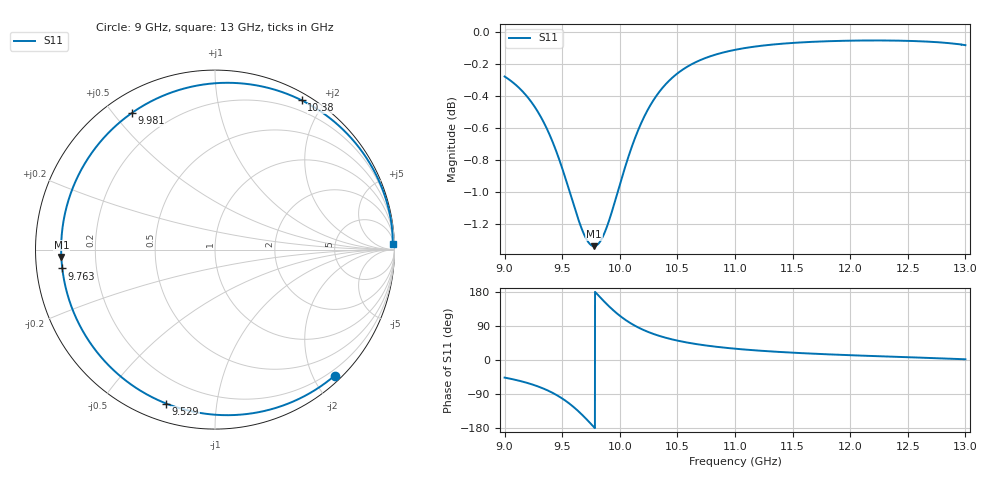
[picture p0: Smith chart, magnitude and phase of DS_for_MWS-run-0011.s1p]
! TOUCHSTONE file generated by CST DESIGN STUDIO
! Date and time: Wed Feb  5 13:45:21 2025
! Project name: C:\Work\MatlabApps\UnitCellOptimizationMatlab\CST\unitcell.cst
! Tree item: Tasks\Sweep1\SPara1\S-Parameters
! Header version: 2024
! Port assignment regex: !\s*Touchstone port\s*([0-9]+)\s*=\s*(CST MWS port|CST DES external port|CST DES block port)\s*(.+)\s* \(\"(.*)\"\)(\s*mode\s*([0-9]+))?.*
! Touchstone port assignment:
! Touchstone port 1 = CST DES external port 1 ("")
# GHz S MA R 50
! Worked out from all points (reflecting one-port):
!   4001 points, 9 GHz to 13 GHz, reference 50 ohm
!   lowest |S11| = -1.3 dB at 9.776 GHz (marker M1), VSWR 13.00, Z = 3.85 - j1.21 ohm
!   phase of S11 starts at -46 deg and turns -312 deg over the sweep
!   S11 on the Smith chart (normalised r, x): 9 GHz: 0.10, -2.33; 9.529 GHz: 0.08, -0.73; 9.763 GHz: 0.08, -0.06; 9.981 GHz: 0.08, +0.56; 10.38 GHz: 0.08, +1.74; 13 GHz: 17, +57
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9  0.9683 -46.4
9.143  0.9591 -56.0
9.273  0.946 -67.9
9.387  0.9293 -82.2
9.447  0.9179 -91.7
9.5  0.9065 -101.5
9.529  0.8998 -107.5
9.587  0.8859 -121.0
9.642  0.8734 -135.6
9.707  0.8619 -155.0
9.763  0.8573 -173.0
9.776  0.8572 -177.2
9.82  0.8591 168.4
9.866  0.8651 153.8
9.924  0.877 136.6
9.981  0.891 121.4
10  0.8958 116.8
10.069  0.9127 101.8
10.149  0.9298 87.6
10.262  0.9481 72.1
10.385  0.9618 59.8
10.5  0.9705 51.2
10.717  0.9804 39.6
11  0.9871 29.8
11.5  0.992 19.3
12  0.9936 12.6
12.5  0.9935 7.3
13  0.9904 1.9
